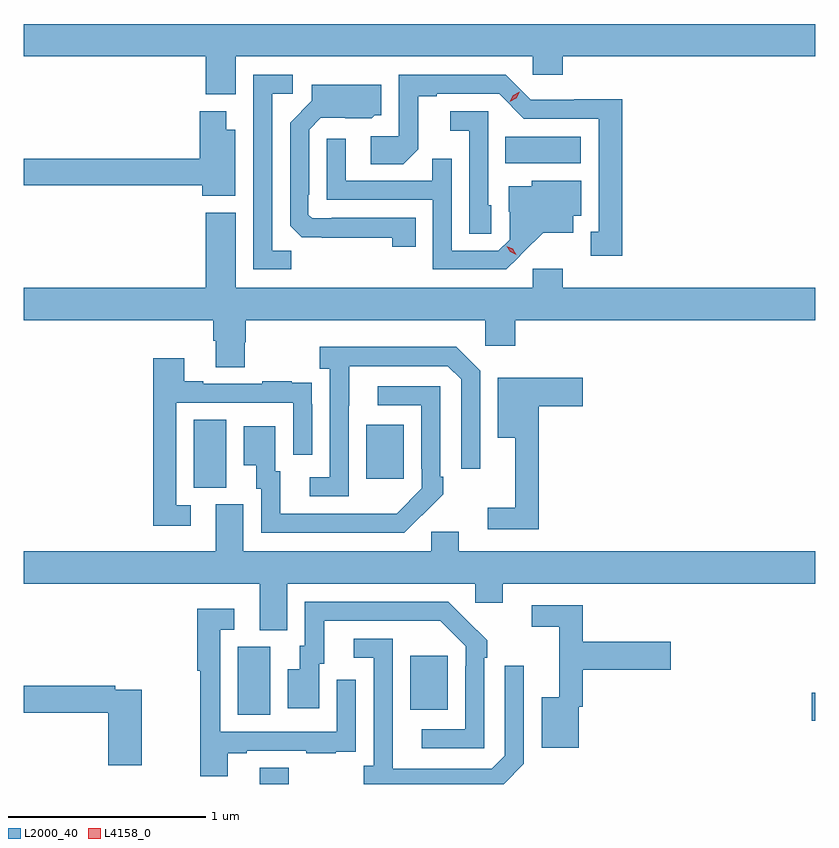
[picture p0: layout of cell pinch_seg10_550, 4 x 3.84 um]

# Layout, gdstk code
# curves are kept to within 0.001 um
import gdstk
lib = gdstk.Library(unit=1e-6, precision=1e-09)
def R(c, l, rs):  # rectangles x0, y0, x1, y1
    for r in rs: c.add(gdstk.rectangle(r[:2], r[2:], *l))
def P(c, l, *ps):  # polygons
    for p in ps: c.add(gdstk.Polygon(p, *l))
L2000_40 = (2000, 40)
L4158_0 = (4158, 0)

pinch_seg10_550 = lib.new_cell('pinch_seg10_550')
R(pinch_seg10_550, L2000_40, [(382.547,1255.347,382.695,1255.43), (385.338,1255.666,385.355,1255.808), (382.436,1255.696,382.6,1256.04), (383.309,1255.721,383.497,1255.996), (382.214,1256.845,382.378,1257.188), (383.087,1256.889,383.275,1257.163), (383.788,1258.484,384.169,1258.618)])
P(pinch_seg10_550, L2000_40, [(382.426,1259.024),(383.928,1259.024),(383.928,1258.931),(384.08,1258.931),(384.08,1259.024),(385.355,1259.024),(385.355,1259.188),(381.355,1259.188),(381.355,1259.024),(382.274,1259.024),(382.274,1258.832),(382.426,1258.832)],
  [(382.707,1258.043),(382.611,1258.043),(382.611,1258.836),(382.714,1258.836),(382.714,1258.932),(382.515,1258.932),(382.515,1257.948),(382.707,1257.948)],
  [(384.379,1258.808),(384.138,1258.808),(384.138,1258.806),(383.916,1258.806),(383.79,1258.932),(383.25,1258.932),(383.25,1258.62),(383.109,1258.62),(383.109,1258.48),(383.273,1258.48),(383.349,1258.556),(383.349,1258.824),(383.443,1258.824),(383.443,1258.836),(383.757,1258.836),(383.883,1258.71),(384.26,1258.71),(384.26,1258.137),(384.221,1258.137),(384.221,1258.017),(384.379,1258.017)],
  [(383.336,1258.209),(382.912,1258.209),(382.912,1258.206),(382.812,1258.206),(382.794,1258.224),(382.794,1258.324),(382.797,1258.324),(382.797,1258.653),(382.857,1258.713),(383.114,1258.712),(383.13,1258.728),(383.161,1258.728),(383.161,1258.882),(382.811,1258.882),(382.811,1258.8),(382.701,1258.69),(382.701,1258.168),(382.76,1258.109),(383.218,1258.108),(383.218,1258.062),(383.336,1258.062)],
  [(382.423,1258.654),(382.378,1258.654),(382.378,1258.747),(382.244,1258.747),(382.244,1258.508),(381.355,1258.508),(381.355,1258.372),(382.256,1258.372),(382.256,1258.319),(382.423,1258.319)],
  [(383.718,1258.272),(383.703,1258.272),(383.703,1258.746),(383.511,1258.746),(383.511,1258.649),(383.607,1258.649),(383.607,1258.129),(383.718,1258.129)],
  [(383.851,1258.005),(383.981,1258.133),(384.133,1258.133),(384.133,1258.22),(384.172,1258.22),(384.172,1258.396),(383.922,1258.396),(383.922,1258.369),(383.807,1258.369),(383.807,1258.24),(383.811,1258.24),(383.811,1258.098),(383.754,1258.041),(383.517,1258.041),(383.517,1258.508),(383.419,1258.508),(383.419,1258.395),(382.983,1258.395),(382.983,1258.609),(382.887,1258.609),(382.887,1258.299),(383.421,1258.299),(383.421,1257.948),(383.794,1257.948)],
  [(382.473,1257.579),(382.478,1257.579),(382.478,1257.692),(383.688,1257.692),(383.688,1257.561),(383.84,1257.561),(383.84,1257.692),(385.355,1257.692),(385.355,1257.856),(384.08,1257.856),(384.08,1257.952),(383.928,1257.952),(383.928,1257.856),(382.426,1257.856),(382.426,1258.234),(382.274,1258.234),(382.274,1257.856),(381.355,1257.856),(381.355,1257.692),(382.313,1257.692),(382.313,1257.586),(382.325,1257.586),(382.325,1257.454),(382.473,1257.454)],
  [(382.998,1257.259),(382.999,1257.459),(383.499,1257.459),(383.565,1257.393),(383.565,1256.94),(383.661,1256.94),(383.661,1257.435),(383.54,1257.556),(382.851,1257.556),(382.851,1257.446),(382.902,1257.446),(382.902,1256.898),(382.8,1256.898),(382.8,1256.802),(382.998,1256.802)],
  [(382.198,1256.757),(382.125,1256.757),(382.125,1257.273),(382.716,1257.273),(382.716,1257.012),(382.812,1257.012),(382.812,1257.266),(382.811,1257.266),(382.811,1257.375),(382.709,1257.375),(382.709,1257.382),(382.561,1257.382),(382.561,1257.369),(382.261,1257.369),(382.261,1257.382),(382.165,1257.382),(382.165,1257.499),(382.009,1257.499),(382.009,1256.652),(382.198,1256.652)],
  [(383.957,1257.257),(384.181,1257.257),(384.181,1257.399),(383.75,1257.399),(383.75,1257.098),(383.84,1257.098),(383.84,1256.743),(383.7,1256.743),(383.7,1256.634),(383.957,1256.634)],
  [(383.369,1256.707),(383.37,1256.706),(383.475,1256.811),(383.475,1256.899),(383.46,1256.899),(383.46,1257.357),(383.145,1257.357),(383.145,1257.261),(383.364,1257.261),(383.364,1256.941),(383.367,1256.941),(383.367,1256.841),(383.239,1256.713),(382.651,1256.712),(382.651,1256.928),(382.627,1256.928),(382.627,1257.154),(382.466,1257.154),(382.466,1256.957),(382.529,1256.957),(382.529,1256.838),(382.554,1256.838),(382.554,1256.616),(383.278,1256.616)],
  [(383.554,1256.622),(383.415,1256.622),(383.415,1256.524),(382.465,1256.524),(382.465,1256.76),(382.325,1256.76),(382.325,1256.524),(381.355,1256.524),(381.355,1256.36),(382.547,1256.36),(382.547,1256.125),(382.687,1256.125),(382.687,1256.36),(383.637,1256.36),(383.637,1256.262),(383.776,1256.262),(383.776,1256.36),(385.355,1256.36),(385.355,1256.524),(383.554,1256.524)],
  [(383.682,1255.985),(383.697,1255.985),(383.697,1256.073),(383.5,1256.268),(382.776,1256.268),(382.776,1256.046),(382.751,1256.046),(382.751,1255.927),(382.688,1255.927),(382.688,1255.731),(382.849,1255.731),(382.849,1255.956),(382.873,1255.956),(382.873,1256.172),(383.461,1256.172),(383.589,1256.043),(383.589,1255.943),(383.586,1255.943),(383.586,1255.623),(383.367,1255.623),(383.367,1255.527),(383.682,1255.527)],
  [(384.16,1255.737),(384.179,1255.737),(384.179,1255.925),(384.625,1255.925),(384.625,1256.067),(384.179,1256.067),(384.179,1256.25),(383.922,1256.25),(383.922,1256.142),(384.062,1256.142),(384.062,1255.786),(383.972,1255.786),(383.972,1255.529),(384.16,1255.529)],
  [(382.387,1255.503),(382.483,1255.503),(382.483,1255.515),(382.783,1255.515),(382.783,1255.503),(382.931,1255.503),(382.931,1255.509),(383.033,1255.509),(383.033,1255.618),(383.034,1255.618),(383.034,1255.873),(382.938,1255.873),(382.938,1255.611),(382.347,1255.611),(382.347,1256.127),(382.42,1256.127),(382.42,1256.233),(382.231,1256.233),(382.231,1255.92),(382.246,1255.92),(382.246,1255.386),(382.387,1255.386)],
  [(383.883,1255.449),(383.883,1255.945),(383.787,1255.945),(383.787,1255.491),(383.721,1255.425),(383.221,1255.425),(383.22,1256.082),(383.022,1256.082),(383.022,1255.986),(383.124,1255.986),(383.124,1255.438),(383.073,1255.438),(383.073,1255.347),(383.781,1255.347)],
  [(381.952,1255.824),(381.818,1255.824),(381.818,1255.844),(381.355,1255.844),(381.355,1255.708),(381.782,1255.708),(381.782,1255.443),(381.952,1255.443)])
P(pinch_seg10_550, L4158_0, [(383.811,1258.795),(383.811,1258.795),(383.829,1258.828),(383.861,1258.846),(383.861,1258.846),(383.861,1258.846),(383.843,1258.814),(383.812,1258.795)],
  [(383.843,1258.021),(383.813,1258.036),(383.795,1258.065),(383.795,1258.066),(383.796,1258.066),(383.826,1258.051),(383.844,1258.021),(383.844,1258.021)])

lib.write_gds('pinch_seg10_550.gds')
